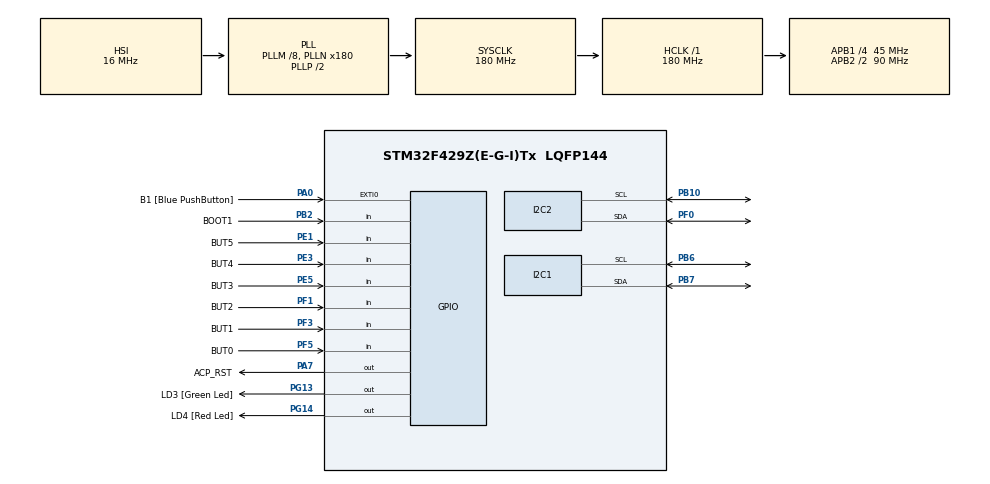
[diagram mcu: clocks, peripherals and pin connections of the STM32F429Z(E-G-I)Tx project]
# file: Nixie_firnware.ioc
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FREERTOS.BinarySemaphores01=set_blink_semaphore,Dynamic,NULL
FREERTOS.Tasks01=defaultTask,0,128,StartDefaultTask,Default,NULL
FREERTOS.configUSE_COUNTING_SEMAPHORES=0
FREERTOS.configUSE_TIMERS=1
Mcu.Family=STM32F4
Mcu.Name=STM32F429Z(E-G-I)Tx
Mcu.Package=LQFP144
NVIC.PriorityGroup=NVIC_PRIORITYGROUP_4
PA0/WKUP.GPIO_Label=B1 [Blue PushButton]
PA0/WKUP.GPIO_ModeDefaultEXTI=GPIO_MODE_EVT_RISING
PA0/WKUP.GPIO_PuPd=GPIO_NOPULL
PA0/WKUP.Signal=GPXTI0
PA13.Mode=JTAG_5_pins
PA13.Signal=SYS_JTMS-SWDIO
PA14.Mode=JTAG_5_pins
PA14.Signal=SYS_JTCK-SWCLK
PA15.Mode=JTAG_5_pins
PA15.Signal=SYS_JTDI
PA7.GPIO_Label=ACP_RST
PA7.GPIO_Mode=GPIO_MODE_OUTPUT_PP
PA7.GPIO_PuPd=GPIO_NOPULL
PA7.GPIO_Speed=GPIO_SPEED_FREQ_LOW
PA7.Signal=GPIO_Output
PB10.Mode=I2C
PB10.Signal=I2C2_SCL
PB2/BOOT1.GPIO_Label=BOOT1
PB2/BOOT1.GPIO_Mode=GPIO_MODE_INPUT
PB2/BOOT1.GPIO_PuPd=GPIO_NOPULL
PB2/BOOT1.Signal=GPIO_Input
PB3.Mode=JTAG_5_pins
PB3.Signal=SYS_JTDO-SWO
PB4.Mode=JTAG_5_pins
PB4.Signal=SYS_JTRST
PB6.Mode=I2C
PB6.Signal=I2C1_SCL
PB7.Mode=I2C
PB7.Signal=I2C1_SDA
PE1.GPIO_Label=BUT5
PE1.Signal=GPIO_Input
PE3.GPIO_Label=BUT4
PE3.Signal=GPIO_Input
PE5.GPIO_Label=BUT3
PE5.Signal=GPIO_Input
PF0.Mode=I2C
PF0.Signal=I2C2_SDA
PF1.GPIO_Label=BUT2
PF1.Signal=GPIO_Input
PF3.GPIO_Label=BUT1
PF3.Signal=GPIO_Input
PF5.GPIO_Label=BUT0
PF5.Signal=GPIO_Input
PG13.GPIO_Label=LD3 [Green Led]
PG13.GPIO_Mode=GPIO_MODE_OUTPUT_PP
PG13.GPIO_PuPd=GPIO_NOPULL
PG13.GPIO_Speed=GPIO_SPEED_FREQ_LOW
PG13.Signal=GPIO_Output
PG14.GPIO_Label=LD4 [Red Led]
PG14.GPIO_Mode=GPIO_MODE_OUTPUT_PP
PG14.GPIO_PuPd=GPIO_NOPULL
PG14.GPIO_Speed=GPIO_SPEED_FREQ_LOW
PG14.Signal=GPIO_Output
ProjectManager.HeapSize=0x200
ProjectManager.StackSize=0x400
ProjectManager.TargetToolchain=SW4STM32
RCC.48MHZClocksFreq_Value=51428571.428571425
RCC.AHBFreq_Value=180000000
RCC.APB1CLKDivider=RCC_HCLK_DIV4
RCC.APB1Freq_Value=45000000
RCC.APB1TimFreq_Value=90000000
RCC.APB2CLKDivider=RCC_HCLK_DIV2
RCC.APB2Freq_Value=90000000
RCC.APB2TimFreq_Value=180000000
RCC.CortexFreq_Value=180000000
RCC.HCLKFreq_Value=180000000
RCC.HSE_VALUE=8000000
RCC.HSI_VALUE=16000000
RCC.LSE_VALUE=32768
RCC.PLLM=8
RCC.PLLN=180
RCC.PLLQ=7
RCC.PLLSAIN=260
RCC.SYSCLKFreq_VALUE=180000000
RCC.SYSCLKSource=RCC_SYSCLKSOURCE_PLLCLK
RCC.VCOOutputFreq_Value=360000000
VP_FREERTOS_VS_ENABLE.Mode=Enabled
board=STM32F429I-DISC1

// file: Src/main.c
/**
  ******************************************************************************
  * File Name          : main.c
  * Description        : Main program body
  ******************************************************************************
  * This notice applies to any and all portions of this file
  * that are not between comment pairs USER CODE BEGIN and
  * USER CODE END. Other portions of this file, whether
  * inserted by the user or by software development tools
  * are owned by their respective copyright owners.
  *
  * Copyright (c) 2017 STMicroelectronics International N.V.
  * All rights reserved.
  *
  * Redistribution and use in source and binary forms, with or without
  * modification, are permitted, provided that the following conditions are met:
  *
  * 1. Redistribution of source code must retain the above copyright notice,
  *    this list of conditions and the following disclaimer.
  * 2. Redistributions in binary form must reproduce the above copyright notice,
  *    this list of conditions and the following disclaimer in the documentation
  *    and/or other materials provided with the distribution.
  * 3. Neither the name of STMicroelectronics nor the names of other
  *    contributors to this software may be used to endorse or promote products
  *    derived from this software without specific written permission.
  * 4. This software, including modifications and/or derivative works of this
  *    software, must execute solely and exclusively on microcontroller or
  *    microprocessor devices manufactured by or for STMicroelectronics.
  * 5. Redistribution and use of this software other than as permitted under
  *    this license is void and will automatically terminate your rights under
  *    this license.
  *
  * THIS SOFTWARE IS PROVIDED BY STMICROELECTRONICS AND CONTRIBUTORS "AS IS"
  * AND ANY EXPRESS, IMPLIED OR STATUTORY WARRANTIES, INCLUDING, BUT NOT
  * LIMITED TO, THE IMPLIED WARRANTIES OF MERCHANTABILITY, FITNESS FOR A
  * PARTICULAR PURPOSE AND NON-INFRINGEMENT OF THIRD PARTY INTELLECTUAL PROPERTY
  * RIGHTS ARE DISCLAIMED TO THE FULLEST EXTENT PERMITTED BY LAW. IN NO EVENT
  * SHALL STMICROELECTRONICS OR CONTRIBUTORS BE LIABLE FOR ANY DIRECT, INDIRECT,
  * INCIDENTAL, SPECIAL, EXEMPLARY, OR CONSEQUENTIAL DAMAGES (INCLUDING, BUT NOT
  * LIMITED TO, PROCUREMENT OF SUBSTITUTE GOODS OR SERVICES; LOSS OF USE, DATA,
  * OR PROFITS; OR BUSINESS INTERRUPTION) HOWEVER CAUSED AND ON ANY THEORY OF
  * LIABILITY, WHETHER IN CONTRACT, STRICT LIABILITY, OR TORT (INCLUDING
  * NEGLIGENCE OR OTHERWISE) ARISING IN ANY WAY OUT OF THE USE OF THIS SOFTWARE,
  * EVEN IF ADVISED OF THE POSSIBILITY OF SUCH DAMAGE.
  *
  ******************************************************************************
  */
#include "main.h"
#include "stm32f4xx_hal.h"
#include "cmsis_os.h"

/* USER CODE BEGIN Includes */
#include <stdio.h>
#include <string.h>

#include "buttons.h"
#include "my_timers.h"
#include "render.h"
/* USER CODE END Includes */

I2C_HandleTypeDef hi2c1;
I2C_HandleTypeDef hi2c2;

osThreadId defaultTaskHandle;
osSemaphoreId set_blink_semaphoreHandle;

/* USER CODE BEGIN PV */
/* Private variables ---------------------------------------------------------*/
osTimerId set_blink_timerHandle;

osThreadId ButtonListenerTaskHandle, ScreenRenderTaskHandle;
ds3231Registers* registers = NULL;
TimerHandle_t rtos_blink_timer;
/* USER CODE END PV */

void SystemClock_Config(void);
static void MX_GPIO_Init(void);
static void MX_I2C1_Init(void);
static void MX_I2C2_Init(void);
void StartDefaultTask(void const * argument);

/* USER CODE BEGIN PFP */
/* Private function prototypes -----------------------------------------------*/

/* USER CODE END PFP */

int main(void)
{

  /* MCU Configuration----------------------------------------------------------*/

  /* Reset of all peripherals, Initializes the Flash interface and the Systick. */
  HAL_Init();

  /* Configure the system clock */
  SystemClock_Config();

  /* Initialize all configured peripherals */
  MX_GPIO_Init();
  MX_I2C1_Init();
  MX_I2C2_Init();

  /* USER CODE BEGIN 2 */
  ButtonsInit();

	//DS3231
	ds3231Time testTime = {
		.twelve_hour = TRUE,
		.sec = 55,
		.min = 59,
		.hour = 11,
		.pm = PM,
		.week_day = 5,
		.date = 31,
		.month = 12,
		.year = 2017
	};
	DS3231_set_time(&hi2c2, &testTime);

	ds3231Alarm testAlarm1 = {
		.twelve_hour = TRUE,
		.hour = 2,
		.min = 3,
		.sec = 4,
		.pm = PM,
		.week_day = MONDAY,
		.date = 4,
		.date_or_day = DAY_OF_MONTH,
		.alarm_type = ALARM_MATCH_SECONDS
	};
	DS3231_set_alarm(&hi2c2, &testAlarm1, ALARM_ONE);

	render_state = DISP_TIME;

	//SSD1306
	ssd1306_Init();
	HAL_Delay(1000);
	ssd1306_Fill(White);
	ssd1306_UpdateScreen();
  /* USER CODE END 2 */

  /* Create the semaphores(s) */
  /* definition and creation of set_blink_semaphore */
  osSemaphoreDef(set_blink_semaphore);
  set_blink_semaphoreHandle = osSemaphoreCreate(osSemaphore(set_blink_semaphore), 1);

  /* USER CODE BEGIN RTOS_TIMERS */
  /* start timers, add new ones, ... */
	osTimerDef(set_blink_timer, set_blink_timer_callback);
	set_blink_timerHandle = osTimerCreate(osTimer(set_blink_timer), osTimerPeriodic, NULL);

	rtos_blink_timer = xTimerCreate("blinkTimer", 1000, pdTRUE, 1, set_blink_timer_callback);
	xTimerStart(rtos_blink_timer,0);
  /* USER CODE END RTOS_TIMERS */

  /* Create the thread(s) */
  /* definition and creation of defaultTask */
  osThreadDef(defaultTask, StartDefaultTask, osPriorityNormal, 0, 128);
  defaultTaskHandle = osThreadCreate(osThread(defaultTask), NULL);

  /* USER CODE BEGIN RTOS_THREADS */
  /* add threads, ... */
  osThreadDef(ButtonListener, ButtonListenerTask, osPriorityNormal, 0, 128);
	ButtonListenerTaskHandle = osThreadCreate(osThread(ButtonListener), NULL);

	osThreadDef(ScreenRender, ScreenRenderTask, osPriorityNormal, 0, 128);
	ScreenRenderTaskHandle = osThreadCreate(osThread(ScreenRender), NULL);
  /* USER CODE END RTOS_THREADS */

  /* Start scheduler */
  osKernelStart();

  /* We should never get here as control is now taken by the scheduler */

  /* Infinite loop */
  while (1)
  {

  }

}

/** System Clock Configuration
*/
void SystemClock_Config(void)
{

  RCC_OscInitTypeDef RCC_OscInitStruct;
  RCC_ClkInitTypeDef RCC_ClkInitStruct;

    /**Configure the main internal regulator output voltage
    */
  __HAL_RCC_PWR_CLK_ENABLE();

  __HAL_PWR_VOLTAGESCALING_CONFIG(PWR_REGULATOR_VOLTAGE_SCALE1);

    /**Initializes the CPU, AHB and APB busses clocks
    */
  RCC_OscInitStruct.OscillatorType = RCC_OSCILLATORTYPE_HSI;
  RCC_OscInitStruct.HSIState = RCC_HSI_ON;
  RCC_OscInitStruct.HSICalibrationValue = 16;
  RCC_OscInitStruct.PLL.PLLState = RCC_PLL_ON;
  RCC_OscInitStruct.PLL.PLLSource = RCC_PLLSOURCE_HSI;
  RCC_OscInitStruct.PLL.PLLM = 8;
  RCC_OscInitStruct.PLL.PLLN = 180;
  RCC_OscInitStruct.PLL.PLLP = RCC_PLLP_DIV2;
  RCC_OscInitStruct.PLL.PLLQ = 7;
  if (HAL_RCC_OscConfig(&RCC_OscInitStruct) != HAL_OK)
  {
    _Error_Handler(__FILE__, __LINE__);
  }

    /**Activate the Over-Drive mode
    */
  if (HAL_PWREx_EnableOverDrive() != HAL_OK)
  {
    _Error_Handler(__FILE__, __LINE__);
  }

    /**Initializes the CPU, AHB and APB busses clocks
    */
  RCC_ClkInitStruct.ClockType = RCC_CLOCKTYPE_HCLK|RCC_CLOCKTYPE_SYSCLK
                              |RCC_CLOCKTYPE_PCLK1|RCC_CLOCKTYPE_PCLK2;
  RCC_ClkInitStruct.SYSCLKSource = RCC_SYSCLKSOURCE_PLLCLK;
  RCC_ClkInitStruct.AHBCLKDivider = RCC_SYSCLK_DIV1;
  RCC_ClkInitStruct.APB1CLKDivider = RCC_HCLK_DIV4;
  RCC_ClkInitStruct.APB2CLKDivider = RCC_HCLK_DIV2;

  if (HAL_RCC_ClockConfig(&RCC_ClkInitStruct, FLASH_LATENCY_5) != HAL_OK)
  {
    _Error_Handler(__FILE__, __LINE__);
  }

    /**Configure the Systick interrupt time
    */
  HAL_SYSTICK_Config(HAL_RCC_GetHCLKFreq()/1000);

    /**Configure the Systick
    */
  HAL_SYSTICK_CLKSourceConfig(SYSTICK_CLKSOURCE_HCLK);

  /* SysTick_IRQn interrupt configuration */
  HAL_NVIC_SetPriority(SysTick_IRQn, 15, 0);
}

/* I2C1 init function */
static void MX_I2C1_Init(void)
{

  hi2c1.Instance = I2C1;
  hi2c1.Init.ClockSpeed = 100000;
  hi2c1.Init.DutyCycle = I2C_DUTYCYCLE_2;
  hi2c1.Init.OwnAddress1 = 0;
  hi2c1.Init.AddressingMode = I2C_ADDRESSINGMODE_7BIT;
  hi2c1.Init.DualAddressMode = I2C_DUALADDRESS_DISABLE;
  hi2c1.Init.OwnAddress2 = 0;
  hi2c1.Init.GeneralCallMode = I2C_GENERALCALL_DISABLE;
  hi2c1.Init.NoStretchMode = I2C_NOSTRETCH_DISABLE;
  if (HAL_I2C_Init(&hi2c1) != HAL_OK)
  {
    _Error_Handler(__FILE__, __LINE__);
  }

}

/* I2C2 init function */
static void MX_I2C2_Init(void)
{

  hi2c2.Instance = I2C2;
  hi2c2.Init.ClockSpeed = 100000;
  hi2c2.Init.DutyCycle = I2C_DUTYCYCLE_2;
  hi2c2.Init.OwnAddress1 = 0;
  hi2c2.Init.AddressingMode = I2C_ADDRESSINGMODE_7BIT;
  hi2c2.Init.DualAddressMode = I2C_DUALADDRESS_DISABLE;
  hi2c2.Init.OwnAddress2 = 0;
  hi2c2.Init.GeneralCallMode = I2C_GENERALCALL_DISABLE;
  hi2c2.Init.NoStretchMode = I2C_NOSTRETCH_DISABLE;
  if (HAL_I2C_Init(&hi2c2) != HAL_OK)
  {
    _Error_Handler(__FILE__, __LINE__);
  }

}

/** Configure pins as
        * Analog
        * Input
        * Output
        * EVENT_OUT
        * EXTI
*/
static void MX_GPIO_Init(void)
{

  GPIO_InitTypeDef GPIO_InitStruct;

  /* GPIO Ports Clock Enable */
  __HAL_RCC_GPIOE_CLK_ENABLE();
  __HAL_RCC_GPIOF_CLK_ENABLE();
  __HAL_RCC_GPIOA_CLK_ENABLE();
  __HAL_RCC_GPIOB_CLK_ENABLE();
  __HAL_RCC_GPIOG_CLK_ENABLE();

  /*Configure GPIO pin Output Level */
  HAL_GPIO_WritePin(ACP_RST_GPIO_Port, ACP_RST_Pin, GPIO_PIN_RESET);

  /*Configure GPIO pin Output Level */
  HAL_GPIO_WritePin(GPIOG, LD3_Pin|LD4_Pin, GPIO_PIN_RESET);

  /*Configure GPIO pins : BUT4_Pin BUT3_Pin BUT5_Pin */
  GPIO_InitStruct.Pin = BUT4_Pin|BUT3_Pin|BUT5_Pin;
  GPIO_InitStruct.Mode = GPIO_MODE_INPUT;
  GPIO_InitStruct.Pull = GPIO_NOPULL;
  HAL_GPIO_Init(GPIOE, &GPIO_InitStruct);

  /*Configure GPIO pins : BUT2_Pin BUT1_Pin BUT0_Pin */
  GPIO_InitStruct.Pin = BUT2_Pin|BUT1_Pin|BUT0_Pin;
  GPIO_InitStruct.Mode = GPIO_MODE_INPUT;
  GPIO_InitStruct.Pull = GPIO_NOPULL;
  HAL_GPIO_Init(GPIOF, &GPIO_InitStruct);

  /*Configure GPIO pin : B1_Pin */
  GPIO_InitStruct.Pin = B1_Pin;
  GPIO_InitStruct.Mode = GPIO_MODE_EVT_RISING;
  GPIO_InitStruct.Pull = GPIO_NOPULL;
  HAL_GPIO_Init(B1_GPIO_Port, &GPIO_InitStruct);

  /*Configure GPIO pin : ACP_RST_Pin */
  GPIO_InitStruct.Pin = ACP_RST_Pin;
  GPIO_InitStruct.Mode = GPIO_MODE_OUTPUT_PP;
  GPIO_InitStruct.Pull = GPIO_NOPULL;
  GPIO_InitStruct.Speed = GPIO_SPEED_FREQ_LOW;
  HAL_GPIO_Init(ACP_RST_GPIO_Port, &GPIO_InitStruct);

  /*Configure GPIO pin : BOOT1_Pin */
  GPIO_InitStruct.Pin = BOOT1_Pin;
  GPIO_InitStruct.Mode = GPIO_MODE_INPUT;
  GPIO_InitStruct.Pull = GPIO_NOPULL;
  HAL_GPIO_Init(BOOT1_GPIO_Port, &GPIO_InitStruct);

  /*Configure GPIO pins : LD3_Pin LD4_Pin */
  GPIO_InitStruct.Pin = LD3_Pin|LD4_Pin;
  GPIO_InitStruct.Mode = GPIO_MODE_OUTPUT_PP;
  GPIO_InitStruct.Pull = GPIO_NOPULL;
  GPIO_InitStruct.Speed = GPIO_SPEED_FREQ_LOW;
  HAL_GPIO_Init(GPIOG, &GPIO_InitStruct);

}

/* StartDefaultTask function */
void StartDefaultTask(void const * argument)
{

  /* USER CODE BEGIN 5 */
  /* Infinite loop */
  for(;;)
  {
	HAL_GPIO_TogglePin(LD3_GPIO_Port, LD3_Pin);
    osDelay(1000);
  }
  /* USER CODE END 5 */
}

void _Error_Handler(char * file, int line)
{
  while(1)
  {
  }
}

/************************ (C) COPYRIGHT STMicroelectronics *****END OF FILE****/
